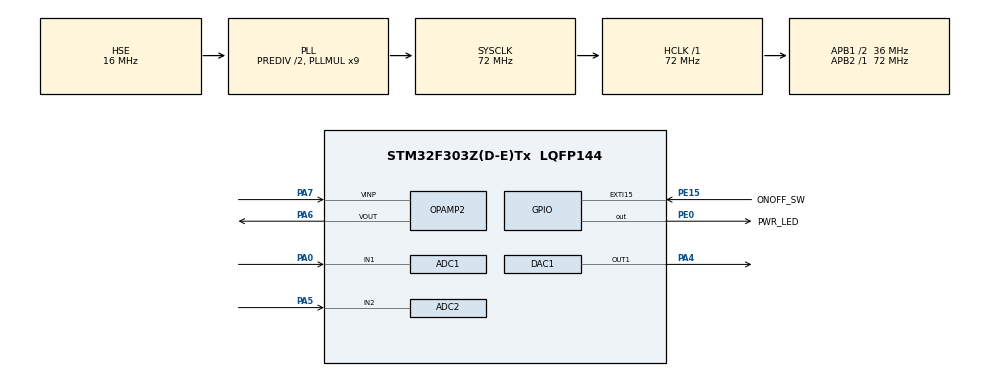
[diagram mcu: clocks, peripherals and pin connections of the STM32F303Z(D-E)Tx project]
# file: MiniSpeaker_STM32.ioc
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ADC1.Channel-0\#ChannelRegularConversion=ADC_CHANNEL_1
ADC1.ClockPrescaler=ADC_CLOCK_SYNC_PCLK_DIV1
ADC1.ContinuousConvMode=DISABLE
ADC1.DMAContinuousRequests=ENABLE
ADC1.ExternalTrigConv=ADC_EXTERNALTRIGCONV_T3_TRGO
ADC1.ExternalTrigConvEdge=ADC_EXTERNALTRIGCONVEDGE_RISING
ADC1.NbrOfConversion=1
ADC1.NbrOfConversionFlag=1
ADC1.Offset-0\#ChannelRegularConversion=0
ADC1.OffsetNumber-0\#ChannelRegularConversion=ADC_OFFSET_NONE
ADC1.Rank-0\#ChannelRegularConversion=1
ADC1.SamplingTime-0\#ChannelRegularConversion=ADC_SAMPLETIME_601CYCLES_5
ADC1.master=1
ADC2.Channel-1\#ChannelRegularConversion=ADC_CHANNEL_2
ADC2.ClockPrescaler=ADC_CLOCK_SYNC_PCLK_DIV1
ADC2.DMAContinuousRequests=ENABLE
ADC2.ExternalTrigConv=ADC_EXTERNALTRIGCONV_T2_TRGO
ADC2.NbrOfConversionFlag=1
ADC2.Offset-1\#ChannelRegularConversion=0
ADC2.OffsetNumber-1\#ChannelRegularConversion=ADC_OFFSET_NONE
ADC2.Rank-1\#ChannelRegularConversion=1
ADC2.Resolution=ADC_RESOLUTION_8B
ADC2.SamplingTime-1\#ChannelRegularConversion=ADC_SAMPLETIME_1CYCLE_5
DAC1.DAC_Trigger=DAC_TRIGGER_T3_TRGO
Dma.ADC1.0.Direction=DMA_PERIPH_TO_MEMORY
Dma.ADC1.0.Instance=DMA1_Channel1
Dma.ADC1.0.MemDataAlignment=DMA_MDATAALIGN_HALFWORD
Dma.ADC1.0.MemInc=DMA_MINC_ENABLE
Dma.ADC1.0.Mode=DMA_CIRCULAR
Dma.ADC1.0.PeriphDataAlignment=DMA_PDATAALIGN_HALFWORD
Dma.ADC1.0.PeriphInc=DMA_PINC_DISABLE
Dma.ADC1.0.Priority=DMA_PRIORITY_VERY_HIGH
Dma.ADC2.2.Direction=DMA_PERIPH_TO_MEMORY
Dma.ADC2.2.Instance=DMA2_Channel1
Dma.ADC2.2.MemDataAlignment=DMA_MDATAALIGN_BYTE
Dma.ADC2.2.MemInc=DMA_MINC_ENABLE
Dma.ADC2.2.Mode=DMA_CIRCULAR
Dma.ADC2.2.PeriphDataAlignment=DMA_PDATAALIGN_BYTE
Dma.ADC2.2.PeriphInc=DMA_PINC_DISABLE
Dma.ADC2.2.Priority=DMA_PRIORITY_HIGH
Dma.DAC1_CH1.1.Direction=DMA_MEMORY_TO_PERIPH
Dma.DAC1_CH1.1.Instance=DMA2_Channel3
Dma.DAC1_CH1.1.MemDataAlignment=DMA_MDATAALIGN_HALFWORD
Dma.DAC1_CH1.1.MemInc=DMA_MINC_ENABLE
Dma.DAC1_CH1.1.Mode=DMA_CIRCULAR
Dma.DAC1_CH1.1.PeriphDataAlignment=DMA_PDATAALIGN_HALFWORD
Dma.DAC1_CH1.1.PeriphInc=DMA_PINC_DISABLE
Dma.DAC1_CH1.1.Priority=DMA_PRIORITY_VERY_HIGH
Dma.Request0=ADC1
Dma.Request1=DAC1_CH1
Dma.Request2=ADC2
Mcu.Family=STM32F3
Mcu.Name=STM32F303Z(D-E)Tx
Mcu.Package=LQFP144
NVIC.DMA1_Channel1_IRQn=true\:0\:0\:false\:false\:true\:false\:true\:true
NVIC.DMA2_Channel1_IRQn=true\:0\:0\:false\:false\:true\:false\:true\:true
NVIC.DMA2_Channel3_IRQn=true\:0\:0\:false\:false\:true\:false\:true\:true
NVIC.EXTI15_10_IRQn=true\:0\:0\:false\:false\:true\:true\:true\:true
NVIC.PriorityGroup=NVIC_PRIORITYGROUP_4
NVIC.TIM2_IRQn=true\:0\:0\:false\:false\:true\:true\:true\:true
NVIC.TIM3_IRQn=true\:0\:0\:false\:false\:true\:true\:true\:true
PA0.Mode=IN1-Single-Ended
PA0.Signal=ADC1_IN1
PA13.Mode=Serial_Wire
PA13.Signal=SYS_JTMS-SWDIO
PA14.Mode=Serial_Wire
PA14.Signal=SYS_JTCK-SWCLK
PA4.Signal=COMP_DAC11_group
PA5.Mode=IN2-Single-Ended
PA5.Signal=ADC2_IN2
PA6.Mode=Follower
PA6.Signal=OPAMP2_VOUT
PA7.Mode=Follower
PA7.Signal=OPAMP2_VINP
PD8.Signal=USART3_TX
PD9.Signal=USART3_RX
PE0.GPIO_Label=PWR_LED
PE0.Signal=GPIO_Output
PE15.GPIO_Label=ONOFF_SW
PE15.GPIO_ModeDefaultEXTI=GPIO_MODE_IT_RISING
PE15.GPIO_PuPd=GPIO_NOPULL
PE15.Signal=GPXTI15
PE6.Mode=SYS_WakeUp2
PE6.Signal=SYS_WKUP3
PF0-OSC_IN.Mode=HSE-External-Oscillator
PF0-OSC_IN.Signal=RCC_OSC_IN
PF1-OSC_OUT.Mode=HSE-External-Oscillator
PF1-OSC_OUT.Signal=RCC_OSC_OUT
ProjectManager.HeapSize=0x200
ProjectManager.StackSize=0x400
ProjectManager.TargetToolchain=STM32CubeIDE
RCC.AHBFreq_Value=72000000
RCC.APB1CLKDivider=RCC_HCLK_DIV2
RCC.APB1Freq_Value=36000000
RCC.APB1TimFreq_Value=72000000
RCC.APB2Freq_Value=72000000
RCC.APB2TimFreq_Value=72000000
RCC.CortexFreq_Value=72000000
RCC.HCLKFreq_Value=72000000
RCC.HSE_VALUE=16000000
RCC.HSI_VALUE=8000000
RCC.LSE_VALUE=32768
RCC.PLLDivider=RCC_PREDIV_DIV2
RCC.PLLMUL=RCC_PLL_MUL9
RCC.PLLSourceVirtual=RCC_PLLSOURCE_HSE
RCC.PRESCALERUSB=RCC_USBCLKSOURCE_PLL_DIV1_5
RCC.SYSCLKFreq_VALUE=72000000
RCC.SYSCLKSourceVirtual=RCC_SYSCLKSOURCE_PLLCLK
RCC.USBFreq_Value=48000000
SH.COMP_DAC11_group.0=DAC1_OUT1,DAC_OUT1
STMicroelectronics.X-CUBE-ALGOBUILD.1.3.0.LibraryCcDSPOoLibraryJjDSPOoLibrary=true
TIM2.Period=10000-1
TIM2.Prescaler=72-1
TIM2.TIM_MasterOutputTrigger=TIM_TRGO_UPDATE
TIM3.Period=500-1
TIM3.Prescaler=3-1
TIM3.TIM_MasterOutputTrigger=TIM_TRGO_UPDATE
VP_STMicroelectronics.X-CUBE-ALGOBUILD_VS_DSPOoLibraryJjLibrary_1.3.0_1.3.0.Mode=DSPOoLibraryJjLibrary
VP_TIM2_VS_ClockSourceINT.Mode=Internal
VP_TIM3_VS_ClockSourceINT.Mode=Internal
board=NUCLEO-F303ZE

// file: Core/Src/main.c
/* USER CODE BEGIN Header */
/**
  ******************************************************************************
  * @file           : main.c
  * @brief          : Main program body
  ******************************************************************************
  * @attention
  *
  * Copyright (c) 2023 STMicroelectronics.
  * All rights reserved.
  *
  * This software is licensed under terms that can be found in the LICENSE file
  * in the root directory of this software component.
  * If no LICENSE file comes with this software, it is provided AS-IS.
  *
  ******************************************************************************
  */
/* USER CODE END Header */
#include "main.h"

/* USER CODE BEGIN Includes */
#include <stdlib.h>
#include <stdio.h>
#include <errno.h>
#include "arm_math.h"
/* USER CODE END Includes */

/* USER CODE BEGIN PD */
#define ADC1_BITS 12
#define ADC2_BITS 8
#define BIAS 2048
#define BLOCK_SIZE 1024
#define FIR_BLOCK_SIZE 256
#define NUM_TAPS 40
/* USER CODE END PD */

ADC_HandleTypeDef hadc1;
ADC_HandleTypeDef hadc2;
DMA_HandleTypeDef hdma_adc1;
DMA_HandleTypeDef hdma_adc2;

DAC_HandleTypeDef hdac1;
DMA_HandleTypeDef hdma_dac1_ch1;

OPAMP_HandleTypeDef hopamp2;

TIM_HandleTypeDef htim2;
TIM_HandleTypeDef htim3;

/* USER CODE BEGIN PV */
const uint32_t *csr = (uint32_t*)0x40007004; // Power control/status register

const uint16_t adc1Res = pow(2, ADC1_BITS);
const uint16_t adc2Res = pow(2, ADC2_BITS);

const uint16_t numBlocks = BLOCK_SIZE/FIR_BLOCK_SIZE;

const uint32_t dacAlignment = DAC_ALIGN_12B_R;
const uint32_t dacChannel = DAC_CHANNEL_1;

const float32_t gain = 2.0f;

// Coefficients for FIR filter
static float32_t firTaps[NUM_TAPS] =
{
    -0.0002882429108,-0.001982697519,-0.001052211621,-0.0001040179195, -0.00479822699,
    -0.003936131019, 0.001096982276, -0.00907566119, -0.01158319786, 0.004249109887,
     -0.01242559683,  -0.0281526614, 0.009637908079,-0.007540509105, -0.06024632975,
      0.01590904966,   0.0270492807,  -0.1385083944,  0.02024864219,   0.5081212521,
       0.5081212521,  0.02024864219,  -0.1385083944,   0.0270492807,  0.01590904966,
     -0.06024632975,-0.007540509105, 0.009637908079,  -0.0281526614, -0.01242559683,
     0.004249109887, -0.01158319786, -0.00907566119, 0.001096982276,-0.003936131019,
     -0.00479822699,-0.0001040179195,-0.001052211621,-0.001982697519,-0.0002882429108
};

volatile uint16_t adc1DataIn[BLOCK_SIZE]; // Line audio data from ADC1 input
float32_t         adc1DataOut[BLOCK_SIZE];
volatile uint16_t *adc1DataInPtr;
float32_t         *adc1DataOutPtr;

volatile uint8_t  adc2Data; // Volume control data from ADC2 input
float32_t         vol = 1;

float32_t dacDataIn[BLOCK_SIZE];
uint16_t  dacDataOut[BLOCK_SIZE];
float32_t *dacDataInPtr = &dacDataIn[0];
uint16_t  *dacDataOutPtr = &dacDataOut[0];

arm_fir_instance_f32 fir;
float32_t firState[NUM_TAPS + FIR_BLOCK_SIZE - 1];
float32_t *inF32 = &adc1DataOut[0];
float32_t *outF32 = &dacDataIn[0];
/* USER CODE END PV */

void SystemClock_Config(void);
static void MX_GPIO_Init(void);
static void MX_DMA_Init(void);
static void MX_ADC1_Init(void);
static void MX_DAC1_Init(void);
static void MX_TIM3_Init(void);
static void MX_OPAMP2_Init(void);
static void MX_TIM2_Init(void);
static void MX_ADC2_Init(void);
/* USER CODE BEGIN PFP */
void ADC_ProcessHalf(void);
void DAC_Process(void);
void Power_Toggle(void);
/* USER CODE END PFP */

int main(void)
{
  /* USER CODE BEGIN 1 */
  uint32_t stdby = *csr>>1&1; // Standby flag

  /* USER CODE END 1 */

  /* MCU Configuration--------------------------------------------------------*/

  /* Reset of all peripherals, Initializes the Flash interface and the Systick. */
  HAL_Init();

  /* USER CODE BEGIN Init */
  HAL_PWR_EnableWakeUpPin(PWR_WAKEUP_PIN3);

  /* USER CODE END Init */

  /* Configure the system clock */
  SystemClock_Config();

  /* Initialize all configured peripherals */
  MX_GPIO_Init();
  MX_DMA_Init();
  MX_ADC1_Init();
  MX_DAC1_Init();
  MX_TIM3_Init();
  MX_OPAMP2_Init();
  MX_TIM2_Init();
  MX_ADC2_Init();
  /* USER CODE BEGIN 2 */
  // Enter standby mode on initial boot
  !stdby ? HAL_PWR_EnterSTANDBYMode() : HAL_GPIO_TogglePin(GPIOE, GPIO_PIN_0);

  arm_fir_init_f32(&fir, NUM_TAPS, &firTaps[0], &firState[0], FIR_BLOCK_SIZE);

  HAL_TIM_Base_Start(&htim2);
  HAL_TIM_Base_Start(&htim3);
  HAL_OPAMP_Start(&hopamp2);

  HAL_ADC_Start_DMA(&hadc1, (uint32_t*)adc1DataIn, BLOCK_SIZE);
  HAL_ADC_Start_DMA(&hadc2, (uint32_t*)&adc2Data, 1);
  HAL_DAC_Start_DMA(&hdac1, dacChannel, (uint32_t*)dacDataOut, BLOCK_SIZE, dacAlignment);

  /* USER CODE END 2 */

  /* Infinite loop */
  /* USER CODE BEGIN WHILE */
  while (1)
  {
	vol = (float)adc2Data / adc2Res; // Value between 0 and 1; multiplier for volume
	// Apply filter and move DAC data to output
	for (int i=0; i<numBlocks; i++)
	{
	  // Apply filter in blocks
	  arm_fir_f32(&fir, inF32 + (i * FIR_BLOCK_SIZE), outF32 + (i * FIR_BLOCK_SIZE), FIR_BLOCK_SIZE);
	}
	// Move filtered data to output
	DAC_Process();
    /* USER CODE END WHILE */

  }
}

void SystemClock_Config(void)
{
  RCC_OscInitTypeDef RCC_OscInitStruct = {0};
  RCC_ClkInitTypeDef RCC_ClkInitStruct = {0};
  RCC_PeriphCLKInitTypeDef PeriphClkInit = {0};

  /** Initializes the RCC Oscillators according to the specified parameters
  * in the RCC_OscInitTypeDef structure.
  */
  RCC_OscInitStruct.OscillatorType = RCC_OSCILLATORTYPE_HSE;
  RCC_OscInitStruct.HSEState = RCC_HSE_ON;
  RCC_OscInitStruct.HSIState = RCC_HSI_ON;
  RCC_OscInitStruct.PLL.PLLState = RCC_PLL_ON;
  RCC_OscInitStruct.PLL.PLLSource = RCC_PLLSOURCE_HSE;
  RCC_OscInitStruct.PLL.PLLMUL = RCC_PLL_MUL9;
  RCC_OscInitStruct.PLL.PREDIV = RCC_PREDIV_DIV2;
  if (HAL_RCC_OscConfig(&RCC_OscInitStruct) != HAL_OK)
  {
    Error_Handler();
  }

  /** Initializes the CPU, AHB and APB buses clocks
  */
  RCC_ClkInitStruct.ClockType = RCC_CLOCKTYPE_HCLK|RCC_CLOCKTYPE_SYSCLK
                              |RCC_CLOCKTYPE_PCLK1|RCC_CLOCKTYPE_PCLK2;
  RCC_ClkInitStruct.SYSCLKSource = RCC_SYSCLKSOURCE_PLLCLK;
  RCC_ClkInitStruct.AHBCLKDivider = RCC_SYSCLK_DIV1;
  RCC_ClkInitStruct.APB1CLKDivider = RCC_HCLK_DIV2;
  RCC_ClkInitStruct.APB2CLKDivider = RCC_HCLK_DIV1;

  if (HAL_RCC_ClockConfig(&RCC_ClkInitStruct, FLASH_LATENCY_2) != HAL_OK)
  {
    Error_Handler();
  }
  PeriphClkInit.PeriphClockSelection = RCC_PERIPHCLK_TIM2|RCC_PERIPHCLK_TIM34;
  PeriphClkInit.Tim2ClockSelection = RCC_TIM2CLK_HCLK;
  PeriphClkInit.Tim34ClockSelection = RCC_TIM34CLK_HCLK;
  if (HAL_RCCEx_PeriphCLKConfig(&PeriphClkInit) != HAL_OK)
  {
    Error_Handler();
  }
}

static void MX_ADC1_Init(void)
{

  ADC_MultiModeTypeDef multimode = {0};
  ADC_ChannelConfTypeDef sConfig = {0};

  /** Common config
  */
  hadc1.Instance = ADC1;
  hadc1.Init.ClockPrescaler = ADC_CLOCK_SYNC_PCLK_DIV1;
  hadc1.Init.Resolution = ADC_RESOLUTION_12B;
  hadc1.Init.ScanConvMode = ADC_SCAN_DISABLE;
  hadc1.Init.ContinuousConvMode = DISABLE;
  hadc1.Init.DiscontinuousConvMode = DISABLE;
  hadc1.Init.ExternalTrigConvEdge = ADC_EXTERNALTRIGCONVEDGE_RISING;
  hadc1.Init.ExternalTrigConv = ADC_EXTERNALTRIGCONV_T3_TRGO;
  hadc1.Init.DataAlign = ADC_DATAALIGN_RIGHT;
  hadc1.Init.NbrOfConversion = 1;
  hadc1.Init.DMAContinuousRequests = ENABLE;
  hadc1.Init.EOCSelection = ADC_EOC_SINGLE_CONV;
  hadc1.Init.LowPowerAutoWait = DISABLE;
  hadc1.Init.Overrun = ADC_OVR_DATA_OVERWRITTEN;
  if (HAL_ADC_Init(&hadc1) != HAL_OK)
  {
    Error_Handler();
  }

  /** Configure the ADC multi-mode
  */
  multimode.Mode = ADC_MODE_INDEPENDENT;
  if (HAL_ADCEx_MultiModeConfigChannel(&hadc1, &multimode) != HAL_OK)
  {
    Error_Handler();
  }

  /** Configure Regular Channel
  */
  sConfig.Channel = ADC_CHANNEL_1;
  sConfig.Rank = ADC_REGULAR_RANK_1;
  sConfig.SingleDiff = ADC_SINGLE_ENDED;
  sConfig.SamplingTime = ADC_SAMPLETIME_601CYCLES_5;
  sConfig.OffsetNumber = ADC_OFFSET_NONE;
  sConfig.Offset = 0;
  if (HAL_ADC_ConfigChannel(&hadc1, &sConfig) != HAL_OK)
  {
    Error_Handler();
  }

}

static void MX_ADC2_Init(void)
{

  ADC_ChannelConfTypeDef sConfig = {0};

  /** Common config
  */
  hadc2.Instance = ADC2;
  hadc2.Init.ClockPrescaler = ADC_CLOCK_SYNC_PCLK_DIV1;
  hadc2.Init.Resolution = ADC_RESOLUTION_8B;
  hadc2.Init.ScanConvMode = ADC_SCAN_DISABLE;
  hadc2.Init.ContinuousConvMode = DISABLE;
  hadc2.Init.DiscontinuousConvMode = DISABLE;
  hadc2.Init.ExternalTrigConvEdge = ADC_EXTERNALTRIGCONVEDGE_RISING;
  hadc2.Init.ExternalTrigConv = ADC_EXTERNALTRIGCONV_T2_TRGO;
  hadc2.Init.DataAlign = ADC_DATAALIGN_RIGHT;
  hadc2.Init.NbrOfConversion = 1;
  hadc2.Init.DMAContinuousRequests = ENABLE;
  hadc2.Init.EOCSelection = ADC_EOC_SINGLE_CONV;
  hadc2.Init.LowPowerAutoWait = DISABLE;
  hadc2.Init.Overrun = ADC_OVR_DATA_OVERWRITTEN;
  if (HAL_ADC_Init(&hadc2) != HAL_OK)
  {
    Error_Handler();
  }

  /** Configure Regular Channel
  */
  sConfig.Channel = ADC_CHANNEL_2;
  sConfig.Rank = ADC_REGULAR_RANK_1;
  sConfig.SingleDiff = ADC_SINGLE_ENDED;
  sConfig.SamplingTime = ADC_SAMPLETIME_1CYCLE_5;
  sConfig.OffsetNumber = ADC_OFFSET_NONE;
  sConfig.Offset = 0;
  if (HAL_ADC_ConfigChannel(&hadc2, &sConfig) != HAL_OK)
  {
    Error_Handler();
  }

}

static void MX_DAC1_Init(void)
{

  DAC_ChannelConfTypeDef sConfig = {0};

  /** DAC Initialization
  */
  hdac1.Instance = DAC1;
  if (HAL_DAC_Init(&hdac1) != HAL_OK)
  {
    Error_Handler();
  }

  /** DAC channel OUT1 config
  */
  sConfig.DAC_Trigger = DAC_TRIGGER_T3_TRGO;
  sConfig.DAC_OutputBuffer = DAC_OUTPUTBUFFER_ENABLE;
  if (HAL_DAC_ConfigChannel(&hdac1, &sConfig, DAC_CHANNEL_1) != HAL_OK)
  {
    Error_Handler();
  }
  __HAL_REMAPTRIGGER_ENABLE(HAL_REMAPTRIGGER_DAC1_TRIG);

}

static void MX_OPAMP2_Init(void)
{

  hopamp2.Instance = OPAMP2;
  hopamp2.Init.Mode = OPAMP_FOLLOWER_MODE;
  hopamp2.Init.NonInvertingInput = OPAMP_NONINVERTINGINPUT_IO0;
  hopamp2.Init.TimerControlledMuxmode = OPAMP_TIMERCONTROLLEDMUXMODE_DISABLE;
  hopamp2.Init.UserTrimming = OPAMP_TRIMMING_FACTORY;
  if (HAL_OPAMP_Init(&hopamp2) != HAL_OK)
  {
    Error_Handler();
  }

}

static void MX_TIM2_Init(void)
{

  TIM_ClockConfigTypeDef sClockSourceConfig = {0};
  TIM_MasterConfigTypeDef sMasterConfig = {0};

  htim2.Instance = TIM2;
  htim2.Init.Prescaler = 72-1;
  htim2.Init.CounterMode = TIM_COUNTERMODE_UP;
  htim2.Init.Period = 10000-1;
  htim2.Init.ClockDivision = TIM_CLOCKDIVISION_DIV1;
  htim2.Init.AutoReloadPreload = TIM_AUTORELOAD_PRELOAD_DISABLE;
  if (HAL_TIM_Base_Init(&htim2) != HAL_OK)
  {
    Error_Handler();
  }
  sClockSourceConfig.ClockSource = TIM_CLOCKSOURCE_INTERNAL;
  if (HAL_TIM_ConfigClockSource(&htim2, &sClockSourceConfig) != HAL_OK)
  {
    Error_Handler();
  }
  sMasterConfig.MasterOutputTrigger = TIM_TRGO_UPDATE;
  sMasterConfig.MasterSlaveMode = TIM_MASTERSLAVEMODE_DISABLE;
  if (HAL_TIMEx_MasterConfigSynchronization(&htim2, &sMasterConfig) != HAL_OK)
  {
    Error_Handler();
  }

}

static void MX_TIM3_Init(void)
{

  TIM_ClockConfigTypeDef sClockSourceConfig = {0};
  TIM_MasterConfigTypeDef sMasterConfig = {0};

  htim3.Instance = TIM3;
  htim3.Init.Prescaler = 3-1;
  htim3.Init.CounterMode = TIM_COUNTERMODE_UP;
  htim3.Init.Period = 500-1;
  htim3.Init.ClockDivision = TIM_CLOCKDIVISION_DIV1;
  htim3.Init.AutoReloadPreload = TIM_AUTORELOAD_PRELOAD_DISABLE;
  if (HAL_TIM_Base_Init(&htim3) != HAL_OK)
  {
    Error_Handler();
  }
  sClockSourceConfig.ClockSource = TIM_CLOCKSOURCE_INTERNAL;
  if (HAL_TIM_ConfigClockSource(&htim3, &sClockSourceConfig) != HAL_OK)
  {
    Error_Handler();
  }
  sMasterConfig.MasterOutputTrigger = TIM_TRGO_UPDATE;
  sMasterConfig.MasterSlaveMode = TIM_MASTERSLAVEMODE_DISABLE;
  if (HAL_TIMEx_MasterConfigSynchronization(&htim3, &sMasterConfig) != HAL_OK)
  {
    Error_Handler();
  }

}

static void MX_DMA_Init(void)
{

  /* DMA controller clock enable */
  __HAL_RCC_DMA1_CLK_ENABLE();
  __HAL_RCC_DMA2_CLK_ENABLE();

  /* DMA interrupt init */
  /* DMA1_Channel1_IRQn interrupt configuration */
  HAL_NVIC_SetPriority(DMA1_Channel1_IRQn, 0, 0);
  HAL_NVIC_EnableIRQ(DMA1_Channel1_IRQn);
  /* DMA2_Channel1_IRQn interrupt configuration */
  HAL_NVIC_SetPriority(DMA2_Channel1_IRQn, 0, 0);
  HAL_NVIC_EnableIRQ(DMA2_Channel1_IRQn);
  /* DMA2_Channel3_IRQn interrupt configuration */
  HAL_NVIC_SetPriority(DMA2_Channel3_IRQn, 0, 0);
  HAL_NVIC_EnableIRQ(DMA2_Channel3_IRQn);

}

static void MX_GPIO_Init(void)
{
  GPIO_InitTypeDef GPIO_InitStruct = {0};

  /* GPIO Ports Clock Enable */
  __HAL_RCC_GPIOE_CLK_ENABLE();
  __HAL_RCC_GPIOF_CLK_ENABLE();
  __HAL_RCC_GPIOA_CLK_ENABLE();
  __HAL_RCC_GPIOD_CLK_ENABLE();

  /*Configure GPIO pin Output Level */
  HAL_GPIO_WritePin(PWR_LED_GPIO_Port, PWR_LED_Pin, GPIO_PIN_RESET);

  /*Configure GPIO pin : ONOFF_SW_Pin */
  GPIO_InitStruct.Pin = ONOFF_SW_Pin;
  GPIO_InitStruct.Mode = GPIO_MODE_IT_RISING;
  GPIO_InitStruct.Pull = GPIO_NOPULL;
  HAL_GPIO_Init(ONOFF_SW_GPIO_Port, &GPIO_InitStruct);

  /*Configure GPIO pins : PD8 PD9 */
  GPIO_InitStruct.Pin = GPIO_PIN_8|GPIO_PIN_9;
  GPIO_InitStruct.Mode = GPIO_MODE_AF_PP;
  GPIO_InitStruct.Pull = GPIO_NOPULL;
  GPIO_InitStruct.Speed = GPIO_SPEED_FREQ_HIGH;
  GPIO_InitStruct.Alternate = GPIO_AF7_USART3;
  HAL_GPIO_Init(GPIOD, &GPIO_InitStruct);

  /*Configure GPIO pin : PWR_LED_Pin */
  GPIO_InitStruct.Pin = PWR_LED_Pin;
  GPIO_InitStruct.Mode = GPIO_MODE_OUTPUT_PP;
  GPIO_InitStruct.Pull = GPIO_NOPULL;
  GPIO_InitStruct.Speed = GPIO_SPEED_FREQ_LOW;
  HAL_GPIO_Init(PWR_LED_GPIO_Port, &GPIO_InitStruct);

  /* EXTI interrupt init*/
  HAL_NVIC_SetPriority(EXTI15_10_IRQn, 0, 0);
  HAL_NVIC_EnableIRQ(EXTI15_10_IRQn);

}

/* USER CODE BEGIN 4 */
/* Moves data from ADC in to ADC out; compensates for bias */
void ADC_ProcessHalf(void)
{
  for (int i = 0; i < (BLOCK_SIZE * 0.5f); i++)
  {
    adc1DataOutPtr[i] = (float)(adc1DataInPtr[i] - BIAS) * 2.0f;
  }
}

/* Move data from DAC in to DAC out, apply volume and gain calculations to samples; compensate for bias */
void DAC_Process(void)
{
  for (int i = 0; i < BLOCK_SIZE; i++)
  {
    dacDataOutPtr[i] = (int)(dacDataInPtr[i] * vol) + BIAS; // Apply volume multiplier and compensate for bias
  }
}

/* Set pointers to first half of ADC buffer; move first half of data from ADC in to ADC out */
void HAL_ADC_ConvHalfCpltCallback(ADC_HandleTypeDef* hadc)
{
  adc1DataInPtr = &adc1DataIn[0];
  adc1DataOutPtr = &adc1DataOut[0];
  ADC_ProcessHalf();
}

/* Set pointers to second half of ADC buffer; move second half of data from ADC in to ADC out */
void HAL_ADC_ConvCpltCallback(ADC_HandleTypeDef* hadc)
{
  adc1DataInPtr = &adc1DataIn[BLOCK_SIZE / 2];
  adc1DataOutPtr = &adc1DataOut[BLOCK_SIZE / 2];
  ADC_ProcessHalf();
}

/* Enter standby mode */
void HAL_GPIO_EXTI_Callback(uint16_t GPIO_Pin)
{
  __HAL_PWR_CLEAR_FLAG(PWR_FLAG_WU); // Clear flag to prevent immediate wake-up
  HAL_GPIO_TogglePin(GPIOE, GPIO_PIN_0); // Toggle power indication led
  HAL_PWR_EnterSTANDBYMode();
}
/* USER CODE END 4 */

void Error_Handler(void)
{
  __disable_irq();
  while (1)
  {
  }
}
